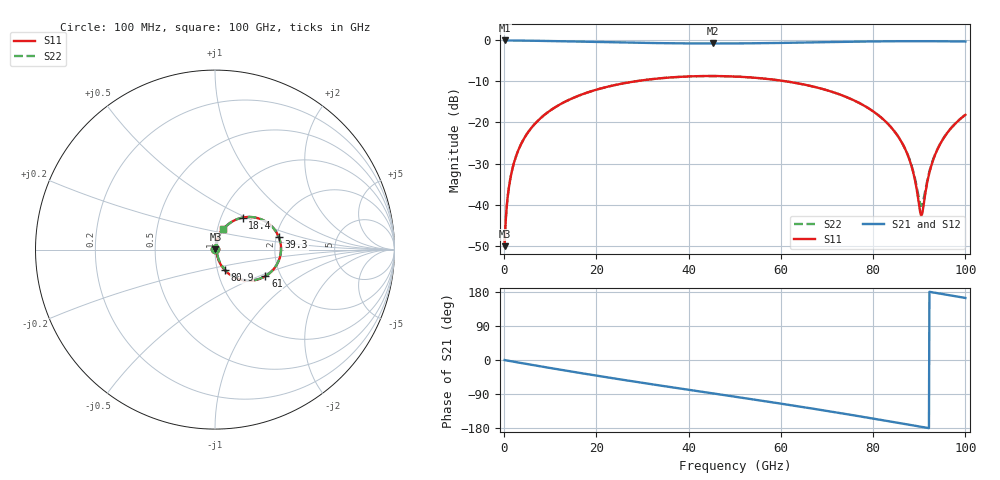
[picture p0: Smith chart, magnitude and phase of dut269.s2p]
! Touchstone file exported from HFSS 2026.1.0
!  File:  C:/ffzhzh/LocalFiles/Ansys_Project_Files/temp_train_RDL_269_1783501821_31944.aedt
!  Generated:  05:12:16 PM Jul  8, 2026
!  Design:  RDL
!  Project:  temp_train_RDL_269_1783501821_31944
! Variables:
!  h_bsmrdl = 2um
!  h_ox = 20um
!  h_rdl = 5um
!  h_sub = 80um
!  h_tmrdl = 3.6um
!  h_tsv = 80um
!  h_via = 3um
!  l_bsmrdl = 300um
!  l_sub = 1064.05um
!  l_tmrdl = 664.05um
!  m_sub = 200um
!  pitch = 44.91um
!  r_tsv = 6um
!  s_tmrdl = 10um
!  w_bsmrdl = 18um
!  w_sub = 500um
!  w_tmrdl = 29.43um
!  x_tsv_center1 = 678.765um
!  x_tsv_center2 = 996.765um
!  x_tsv_center3 = 1690.245um
!  x_tsv_center4 = 2008.245um
!  x_tsv_center5 = 2701.725um
!  x_tsv_center6 = 3019.725um
# GHz S MA R 50.000000
! Terminal data exported
! Port[1] = TM_RDL1_1_T1
! Port[2] = TM_RDL1_1_T2
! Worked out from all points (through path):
!   1000 points, 100 MHz to 100 GHz, reference 50 ohm
!   highest |S21| = -0.02 dB at 100 MHz (marker M1); lowest = -0.8 dB at 45.2 GHz (marker M2)
!   group delay of S21, straight-line fit = 5.33 ps
!   lowest |S11| = -50.1 dB at 100 MHz (marker M3), VSWR 1.01, Z = 50.3 + j0.184 ohm
!   |S11| at or under -10 dB: start of sweep to 28.29 GHz; 61.24 GHz to end of sweep
!   |S22| runs from -50.1 to -8.7 dB; largest |S21 - S12| = 1.7e-14
!   S11 on the Smith chart (normalised r, x): 100 MHz: 1.01, +0.00; 18.4 GHz: 1.26, +0.48; 39.3 GHz: 2.07, +0.33; 61 GHz: 1.67, -0.55; 80.9 GHz: 1.08, -0.25; 100 GHz: 1.06, +0.25
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0.1  0.003119 36.0  0.9975 -0.2  0.9975 -0.2  0.003119 36.0
! Gamma 0 0 0 0
! Port Impedance 50 0 50 0
0.9  0.0143 74.0  0.9964 -2.0  0.9964 -2.0  0.0143 74.0
1.5  0.02302 77.4  0.996 -3.3  0.996 -3.3  0.02302 77.4
2.6  0.0391 78.2  0.995 -5.6  0.995 -5.6  0.0391 78.2
4.2  0.06217 76.2  0.9929 -9.0  0.9929 -9.0  0.06217 76.2
9.1  0.1286 67.1  0.9836 -19.3  0.9836 -19.3  0.1285 67.1
16.8  0.2189 52.3  0.9648 -34.9  0.9648 -34.9  0.2189 52.4
18.4  0.2353 49.3  0.9606 -38.1  0.9606 -38.1  0.2353 49.3
33.4  0.3435 21.5  0.9261 -66.6  0.9261 -66.6  0.3434 21.7
39.3  0.3624 11.0  0.9186 -77.4  0.9186 -77.4  0.3624 11.2
45.2  0.368 0.6  0.9161 -88.0  0.9161 -88.0  0.368 0.7
50.1  0.3626 -8.1  0.9178 -96.9  0.9178 -96.9  0.3626 -7.9
61  0.3177 -27.8  0.9327 -117.1  0.9327 -117.1  0.3177 -27.4
66.7  0.2763 -38.3  0.9446 -128.0  0.9446 -128.0  0.2763 -37.9
80.9  0.1255 -64.6  0.9722 -156.5  0.9722 -156.5  0.1256 -63.5
83.4  0.09377 -68.5  0.9751 -161.6  0.9751 -161.6  0.0939 -67.2
87.6  0.03884 -70.8  0.9777 -170.4  0.9777 -170.4  0.03925 -67.5
90.5  0.007405 7.6  0.9778 -176.5  0.9778 -176.5  0.009648 6.9
92.3  0.02581 72.0  0.9771 179.7  0.9771 179.7  0.02661 67.4
93.9  0.04654 76.2  0.976 176.4  0.976 176.4  0.04702 73.5
96.5  0.08019 74.7  0.9734 171.0  0.9734 171.0  0.0805 73.1
100  0.124 69.4  0.9684 163.7  0.9684 163.7  0.1242 68.4
